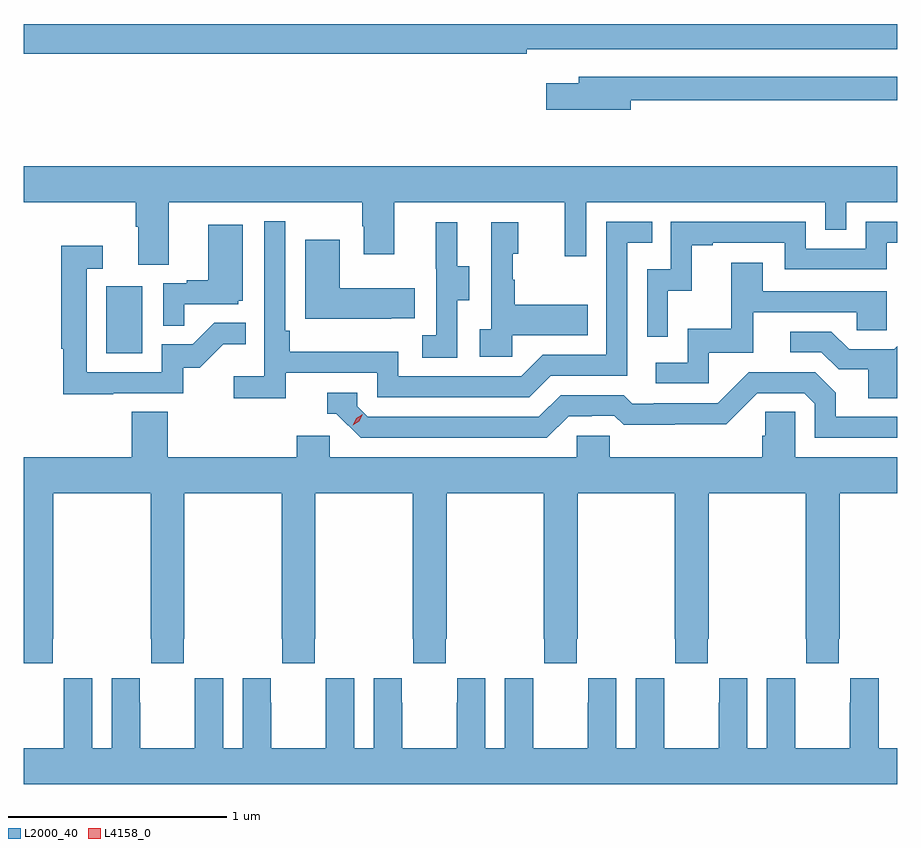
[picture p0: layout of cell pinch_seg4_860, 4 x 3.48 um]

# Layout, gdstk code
import gdstk
lib = gdstk.Library(unit=1e-6, precision=1e-09)
def R(c, l, rs):  # rectangles x0, y0, x1, y1
    for r in rs: c.add(gdstk.rectangle(r[:2], r[2:], *l))
def P(c, l, *ps):  # polygons
    for p in ps: c.add(gdstk.Polygon(p, *l))
L2000_40 = (2000, 40)
L4158_0 = (4158, 0)

pinch_seg4_860 = lib.new_cell('pinch_seg4_860')
R(pinch_seg4_860, L2000_40, [(851.3,797.46,851.464,797.767)])
P(pinch_seg4_860, L2000_40, [(853.226,798.852),(854.922,798.852),(854.922,798.968),(850.922,798.968),(850.922,798.832),(853.226,798.832)],
  [(853.702,798.618),(854.922,798.618),(854.922,798.726),(853.463,798.726),(853.463,798.697),(853.314,798.697),(853.314,798.575),(853.702,798.575)],
  [(851.587,798.152),(852.472,798.152),(852.472,798.041),(852.479,798.041),(852.479,797.913),(852.619,797.913),(852.619,798.152),(853.4,798.152),(853.4,797.904),(853.497,797.904),(853.497,798.152),(854.592,798.152),(854.592,798.025),(854.688,798.025),(854.688,798.152),(854.922,798.152),(854.922,798.316),(850.922,798.316),(850.922,798.152),(851.435,798.152),(851.435,798.04),(851.447,798.04),(851.447,797.866),(851.587,797.866)],
  [(852.122,797.37),(852.54,797.37),(852.54,797.259),(853.237,797.259),(853.336,797.358),(853.686,797.358),(853.686,797.967),(853.799,797.967),(853.799,798.063),(853.59,798.063),(853.59,797.454),(853.299,797.454),(853.2,797.355),(852.636,797.355),(852.636,797.467),(852.14,797.467),(852.14,797.563),(852.12,797.563),(852.12,798.064),(852.024,798.064),(852.024,797.356),(851.883,797.356),(851.883,797.254),(852.122,797.254)],
  [(853.872,797.747),(853.982,797.747),(853.982,797.955),(854.077,797.955),(854.077,797.967),(854.406,797.967),(854.406,797.844),(854.874,797.844),(854.874,797.967),(854.922,797.967),(854.922,798.063),(854.778,798.063),(854.778,797.94),(854.502,797.94),(854.502,798.063),(853.884,798.063),(853.884,797.844),(853.776,797.844),(853.776,797.535),(853.872,797.535)],
  [(853.158,797.543),(853.505,797.543),(853.505,797.683),(853.171,797.683),(853.171,797.798),(853.161,797.798),(853.161,797.916),(853.186,797.916),(853.186,798.061),(853.062,798.061),(853.062,797.57),(853.011,797.57),(853.011,797.445),(853.158,797.445)],
  [(852.906,797.704),(852.961,797.704),(852.961,797.859),(852.907,797.859),(852.907,798.061),(852.809,798.061),(852.809,797.847),(852.81,797.847),(852.81,797.543),(852.747,797.543),(852.747,797.44),(852.906,797.44)],
  [(851.657,797.685),(851.904,797.685),(851.904,797.7),(851.926,797.7),(851.926,798.049),(851.768,798.049),(851.768,797.794),(851.669,797.794),(851.669,797.781),(851.562,797.781),(851.562,797.587),(851.657,797.587)],
  [(852.605,797.621),(852.713,797.621),(852.713,797.758),(852.37,797.758),(852.37,797.98),(852.212,797.98),(852.212,797.618),(852.605,797.618)],
  [(851.333,797.277),(851.652,797.277),(851.652,797.394),(851.728,797.394),(851.835,797.501),(851.939,797.501),(851.939,797.6),(851.795,797.6),(851.697,797.502),(851.553,797.502),(851.553,797.373),(851.211,797.373),(851.211,797.847),(851.284,797.847),(851.284,797.953),(851.095,797.953),(851.095,797.48),(851.103,797.48),(851.103,797.272),(851.333,797.272)],
  [(854.058,797.463),(854.263,797.463),(854.263,797.649),(854.737,797.649),(854.737,797.565),(854.874,797.565),(854.874,797.745),(854.305,797.745),(854.305,797.875),(854.161,797.875),(854.161,797.572),(853.962,797.572),(853.962,797.418),(853.815,797.418),(853.815,797.322),(854.058,797.322)],
  [(854.922,797.493),(854.907,797.478),(854.701,797.478),(854.62,797.559),(854.433,797.559),(854.433,797.466),(854.574,797.466),(854.654,797.386),(854.789,797.386),(854.789,797.254),(854.922,797.254)],
  [(853.417,797.172),(853.524,797.172),(853.524,797.175),(853.627,797.175),(853.669,797.133),(853.902,797.133),(853.902,797.135),(854.138,797.135),(854.28,797.277),(854.496,797.277),(854.544,797.229),(854.544,797.073),(854.922,797.073),(854.922,797.169),(854.641,797.169),(854.641,797.279),(854.547,797.373),(854.241,797.373),(854.1,797.232),(853.807,797.232),(853.807,797.229),(853.708,797.229),(853.669,797.268),(853.38,797.268),(853.281,797.169),(852.498,797.169),(852.45,797.217),(852.45,797.28),(852.311,797.28),(852.311,797.184),(852.354,797.184),(852.465,797.073),(853.318,797.073)],
  [(851.055,796.153),(851.058,796.153),(851.058,796.82),(851.503,796.82),(851.503,796.153),(851.505,796.153),(851.505,796.041),(851.655,796.041),(851.655,796.153),(851.658,796.153),(851.658,796.82),(852.103,796.82),(852.103,796.153),(852.105,796.153),(852.105,796.041),(852.255,796.041),(852.255,796.153),(852.258,796.153),(852.258,796.82),(852.703,796.82),(852.703,796.153),(852.705,796.153),(852.705,796.041),(852.855,796.041),(852.855,796.153),(852.858,796.153),(852.858,796.82),(853.303,796.82),(853.303,796.153),(853.305,796.153),(853.305,796.041),(853.455,796.041),(853.455,796.153),(853.458,796.153),(853.458,796.82),(853.903,796.82),(853.903,796.153),(853.905,796.153),(853.905,796.041),(854.055,796.041),(854.055,796.153),(854.058,796.153),(854.058,796.82),(854.503,796.82),(854.503,796.153),(854.505,796.153),(854.505,796.041),(854.655,796.041),(854.655,796.153),(854.658,796.153),(854.658,796.82),(854.922,796.82),(854.922,796.984),(854.454,796.984),(854.454,797.192),(854.317,797.192),(854.317,797.082),(854.303,797.082),(854.303,796.984),(853.605,796.984),(853.605,797.082),(853.455,797.082),(853.455,796.984),(852.324,796.984),(852.324,797.082),(852.173,797.082),(852.173,796.984),(851.582,796.984),(851.582,797.192),(851.417,797.192),(851.417,796.984),(850.922,796.984),(850.922,796.041),(851.055,796.041)],
  [(854.454,795.86),(854.454,795.973),(854.324,795.973),(854.324,795.652),(854.236,795.652),(854.236,795.973),(854.106,795.973),(854.106,795.86),(854.105,795.86),(854.105,795.652),(853.855,795.652),(853.855,795.86),(853.854,795.86),(853.854,795.973),(853.724,795.973),(853.724,795.652),(853.636,795.652),(853.636,795.973),(853.506,795.973),(853.506,795.86),(853.505,795.86),(853.505,795.652),(853.255,795.652),(853.255,795.86),(853.254,795.86),(853.254,795.973),(853.124,795.973),(853.124,795.652),(853.036,795.652),(853.036,795.973),(852.906,795.973),(852.906,795.86),(852.905,795.86),(852.905,795.652),(852.655,795.652),(852.655,795.86),(852.654,795.86),(852.654,795.973),(852.524,795.973),(852.524,795.652),(852.436,795.652),(852.436,795.973),(852.306,795.973),(852.306,795.86),(852.305,795.86),(852.305,795.652),(852.055,795.652),(852.055,795.86),(852.054,795.86),(852.054,795.973),(851.924,795.973),(851.924,795.652),(851.836,795.652),(851.836,795.973),(851.706,795.973),(851.706,795.86),(851.705,795.86),(851.705,795.652),(851.455,795.652),(851.455,795.86),(851.454,795.86),(851.454,795.973),(851.324,795.973),(851.324,795.652),(851.236,795.652),(851.236,795.973),(851.106,795.973),(851.106,795.86),(851.105,795.86),(851.105,795.652),(850.922,795.652),(850.922,795.488),(854.922,795.488),(854.922,795.652),(854.836,795.652),(854.836,795.973),(854.706,795.973),(854.706,795.86),(854.705,795.86),(854.705,795.652),(854.455,795.652),(854.455,795.86)])
P(pinch_seg4_860, L4158_0, [(852.428,797.13),(852.428,797.13),(852.444,797.163),(852.475,797.182),(852.475,797.182),(852.475,797.182),(852.459,797.149),(852.428,797.13)])

lib.write_gds('pinch_seg4_860.gds')
